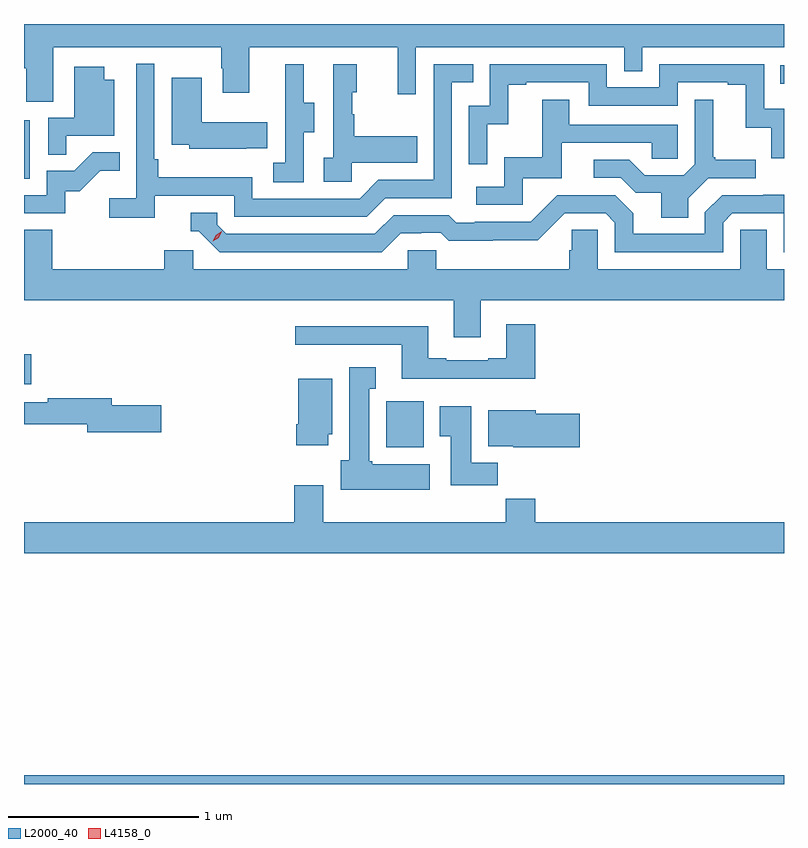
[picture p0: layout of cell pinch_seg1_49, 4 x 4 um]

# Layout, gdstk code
import gdstk
lib = gdstk.Library(unit=1e-6, precision=1e-09)
def R(c, l, rs):  # rectangles x0, y0, x1, y1
    for r in rs: c.add(gdstk.rectangle(r[:2], r[2:], *l))
def P(c, l, *ps):  # polygons
    for p in ps: c.add(gdstk.Polygon(p, *l))
L2000_40 = (2000, 40)
L4158_0 = (4158, 0)

pinch_seg1_49 = lib.new_cell('pinch_seg1_49')
R(pinch_seg1_49, L2000_40, [(1053.898,570.498,1057.898,570.544), (1055.804,572.27,1056.001,572.512), (1053.898,572.603,1053.937,572.761), (1053.898,573.684,1053.928,573.991), (1057.879,574.184,1057.898,574.281)])
P(pinch_seg1_49, L2000_40, [(1054.051,574.376),(1054.936,574.376),(1054.936,574.265),(1054.943,574.265),(1054.943,574.137),(1055.083,574.137),(1055.083,574.376),(1055.864,574.376),(1055.864,574.128),(1055.961,574.128),(1055.961,574.376),(1057.056,574.376),(1057.056,574.249),(1057.152,574.249),(1057.152,574.376),(1057.898,574.376),(1057.898,574.498),(1053.898,574.498),(1053.898,574.376),(1053.899,574.376),(1053.899,574.264),(1053.911,574.264),(1053.911,574.09),(1054.051,574.09)],
  [(1054.586,573.594),(1055.004,573.594),(1055.004,573.483),(1055.701,573.483),(1055.8,573.582),(1056.15,573.582),(1056.15,574.191),(1056.263,574.191),(1056.263,574.287),(1056.054,574.287),(1056.054,573.678),(1055.763,573.678),(1055.664,573.579),(1055.1,573.579),(1055.1,573.691),(1054.604,573.691),(1054.604,573.787),(1054.584,573.787),(1054.584,574.288),(1054.488,574.288),(1054.488,573.58),(1054.347,573.58),(1054.347,573.478),(1054.586,573.478)],
  [(1056.336,573.971),(1056.446,573.971),(1056.446,574.179),(1056.541,574.179),(1056.541,574.191),(1056.87,574.191),(1056.87,574.068),(1057.338,574.068),(1057.338,574.191),(1057.601,574.191),(1057.601,574.179),(1057.697,574.179),(1057.697,573.953),(1057.83,573.953),(1057.83,573.792),(1057.898,573.792),(1057.898,574.051),(1057.794,574.051),(1057.794,574.287),(1057.242,574.287),(1057.242,574.164),(1056.966,574.164),(1056.966,574.287),(1056.348,574.287),(1056.348,574.068),(1056.24,574.068),(1056.24,573.759),(1056.336,573.759)],
  [(1055.37,573.928),(1055.425,573.928),(1055.425,574.083),(1055.371,574.083),(1055.371,574.285),(1055.273,574.285),(1055.273,574.071),(1055.274,574.071),(1055.274,573.767),(1055.211,573.767),(1055.211,573.664),(1055.37,573.664)],
  [(1055.622,573.767),(1055.969,573.767),(1055.969,573.907),(1055.635,573.907),(1055.635,574.022),(1055.625,574.022),(1055.625,574.14),(1055.65,574.14),(1055.65,574.285),(1055.526,574.285),(1055.526,573.794),(1055.475,573.794),(1055.475,573.669),(1055.622,573.669)],
  [(1054.121,573.909),(1054.372,573.909),(1054.372,574.204),(1054.321,574.204),(1054.321,574.273),(1054.163,574.273),(1054.163,574.005),(1054.026,574.005),(1054.026,573.811),(1054.121,573.811)],
  [(1055.069,573.845),(1055.177,573.845),(1055.177,573.982),(1054.834,573.982),(1054.834,574.216),(1054.676,574.216),(1054.676,573.863),(1054.767,573.863),(1054.767,573.842),(1055.069,573.842)],
  [(1056.522,573.687),(1056.727,573.687),(1056.727,573.873),(1057.201,573.873),(1057.201,573.789),(1057.338,573.789),(1057.338,573.969),(1056.769,573.969),(1056.769,574.099),(1056.625,574.099),(1056.625,573.796),(1056.426,573.796),(1056.426,573.642),(1056.279,573.642),(1056.279,573.546),(1056.522,573.546)],
  [(1057.393,573.58),(1057.5,573.687),(1057.75,573.687),(1057.75,573.784),(1057.537,573.784),(1057.537,573.796),(1057.525,573.796),(1057.525,574.099),(1057.428,574.099),(1057.428,573.759),(1057.371,573.702),(1057.165,573.702),(1057.084,573.783),(1056.897,573.783),(1056.897,573.69),(1057.038,573.69),(1057.118,573.61),(1057.253,573.61),(1057.253,573.478),(1057.393,573.478)],
  [(1054.116,573.618),(1054.192,573.618),(1054.299,573.725),(1054.403,573.725),(1054.403,573.823),(1054.259,573.823),(1054.162,573.726),(1054.017,573.726),(1054.017,573.597),(1053.898,573.597),(1053.898,573.501),(1054.116,573.501)],
  [(1055.881,573.396),(1055.988,573.396),(1055.988,573.399),(1056.091,573.399),(1056.133,573.357),(1056.366,573.357),(1056.366,573.359),(1056.602,573.359),(1056.744,573.501),(1056.96,573.501),(1057.008,573.453),(1057.008,573.297),(1057.578,573.297),(1057.578,573.453),(1057.626,573.501),(1057.896,573.501),(1057.896,573.297),(1057.898,573.297),(1057.898,573.599),(1057.788,573.599),(1057.788,573.597),(1057.572,573.597),(1057.482,573.507),(1057.482,573.393),(1057.105,573.393),(1057.105,573.503),(1057.011,573.597),(1056.705,573.597),(1056.564,573.456),(1056.271,573.456),(1056.271,573.453),(1056.172,573.453),(1056.133,573.492),(1055.844,573.492),(1055.745,573.393),(1054.962,573.393),(1054.914,573.441),(1054.914,573.504),(1054.775,573.504),(1054.775,573.408),(1054.818,573.408),(1054.929,573.297),(1055.782,573.297)],
  [(1056.301,573.044),(1057.898,573.044),(1057.898,573.208),(1057.807,573.208),(1057.807,573.416),(1057.668,573.416),(1057.668,573.208),(1056.918,573.208),(1056.918,573.416),(1056.781,573.416),(1056.781,573.306),(1056.767,573.306),(1056.767,573.208),(1056.069,573.208),(1056.069,573.306),(1055.919,573.306),(1055.919,573.208),(1054.788,573.208),(1054.788,573.306),(1054.637,573.306),(1054.637,573.208),(1054.046,573.208),(1054.046,573.416),(1053.898,573.416),(1053.898,573.044),(1056.161,573.044),(1056.161,572.85),(1056.301,572.85)],
  [(1056.59,572.917),(1056.437,572.917),(1056.437,572.74),(1056.341,572.74),(1056.341,572.727),(1056.121,572.727),(1056.121,572.74),(1056.025,572.74),(1056.025,572.908),(1055.325,572.908),(1055.325,572.811),(1055.885,572.811),(1055.885,572.63),(1056.59,572.63)],
  [(1056.034,572.182),(1055.73,572.182),(1055.73,572.196),(1055.716,572.196),(1055.716,572.579),(1055.749,572.579),(1055.749,572.692),(1055.609,572.692),(1055.609,572.202),(1055.564,572.202),(1055.564,572.048),(1056.034,572.048)],
  [(1055.5,572.34),(1055.521,572.34),(1055.521,572.632),(1055.342,572.632),(1055.342,572.392),(1055.33,572.392),(1055.33,572.28),(1055.5,572.28)],
  [(1054.621,572.492),(1054.36,572.492),(1054.36,572.528),(1054.024,572.528),(1054.024,572.508),(1053.898,572.508),(1053.898,572.392),(1054.232,572.392),(1054.232,572.35),(1054.621,572.35)],
  [(1056.392,572.188),(1056.253,572.188),(1056.253,572.485),(1056.086,572.485),(1056.086,572.329),(1056.143,572.329),(1056.143,572.07),(1056.392,572.07)],
  [(1056.823,572.447),(1056.592,572.447),(1056.592,572.464),(1056.341,572.464),(1056.341,572.276),(1056.474,572.276),(1056.474,572.27),(1056.823,572.27)],
  [(1057.898,571.876),(1056.59,571.876),(1056.59,572),(1056.433,572),(1056.433,571.876),(1055.473,571.876),(1055.473,572.071),(1055.321,572.071),(1055.321,571.876),(1053.898,571.876),(1053.898,571.712),(1057.898,571.712)])
P(pinch_seg1_49, L4158_0, [(1054.892,573.354),(1054.892,573.354),(1054.908,573.387),(1054.938,573.407),(1054.938,573.407),(1054.938,573.407),(1054.923,573.374),(1054.892,573.354)])

lib.write_gds('pinch_seg1_49.gds')
